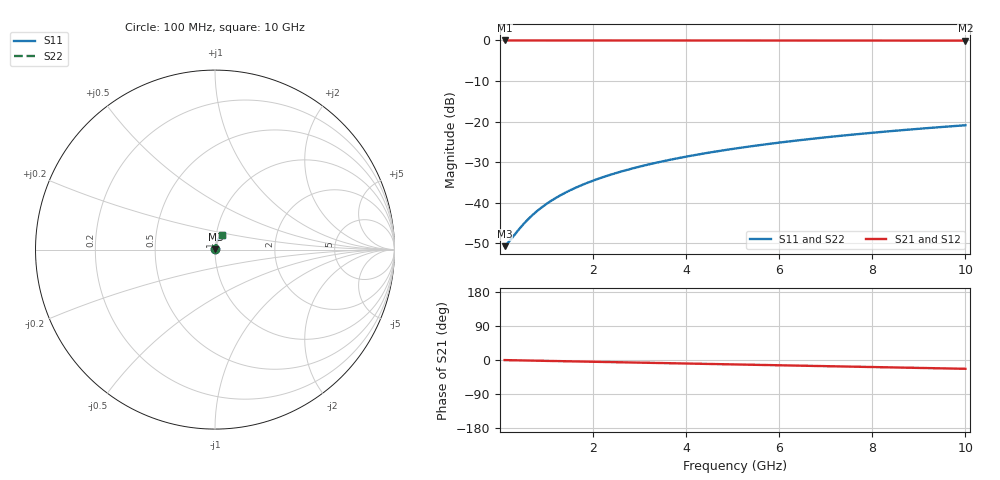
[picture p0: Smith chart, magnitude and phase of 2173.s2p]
# Hz S RI R 50.00
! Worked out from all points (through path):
!   100 points, 100 MHz to 10 GHz, reference 50 ohm
!   highest |S21| = -0.02 dB at 100 MHz (marker M1); lowest = -0.1 dB at 10 GHz (marker M2)
!   group delay of S21, straight-line fit = 6.45 ps
!   lowest |S11| = -50.7 dB at 100 MHz (marker M3), VSWR 1.01, Z = 50.3 + j0.092 ohm
!   |S11| at or under -10 dB: start of sweep to end of sweep
!   |S22| runs from -50.7 to -20.9 dB; largest |S21 - S12| = 0
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1e8  0.00277 0.000915  0.9972 -0.00403  0.9972 -0.00403  0.00277 0.000915
2e8  0.0028 0.00183  0.9972 -0.00806  0.9972 -0.00806  0.0028 0.00183
4e8  0.00287 0.00366  0.997 -0.0161  0.997 -0.0161  0.00287 0.00366
5e8  0.00291 0.00457  0.997 -0.0202  0.997 -0.0202  0.00291 0.00457
6e8  0.00296 0.00549  0.9968 -0.0242  0.9968 -0.0242  0.00296 0.00549
7e8  0.00301 0.0064  0.9967 -0.0282  0.9967 -0.0282  0.00301 0.0064
9e8  0.00314 0.00822  0.9964 -0.0363  0.9964 -0.0363  0.00314 0.00822
1.1e9  0.0033 0.01  0.9961 -0.0443  0.9961 -0.0443  0.0033 0.01
1.3e9  0.00348 0.0119  0.9957 -0.0524  0.9957 -0.0524  0.00348 0.0119
1.5e9  0.0037 0.0137  0.9952 -0.0604  0.9952 -0.0604  0.0037 0.0137
1.8e9  0.00407 0.0164  0.9943 -0.0725  0.9943 -0.0725  0.00407 0.0164
2.1e9  0.00451 0.0191  0.9933 -0.0846  0.9933 -0.0846  0.00451 0.0191
2.5e9  0.0052 0.0227  0.9917 -0.1006  0.9917 -0.1006  0.0052 0.0227
2.9e9  0.00601 0.0263  0.9898 -0.1166  0.9898 -0.1166  0.00601 0.0263
3.4e9  0.00717 0.0307  0.9871 -0.1366  0.9871 -0.1366  0.00717 0.0307
4.2e9  0.0094 0.0376  0.9819 -0.1685  0.9819 -0.1685  0.0094 0.0376
5.1e9  0.0124 0.0453  0.9747 -0.2041  0.9747 -0.2041  0.0124 0.0453
5.9e9  0.0156 0.0518  0.9672 -0.2355  0.9672 -0.2355  0.0156 0.0518
6.7e9  0.0192 0.0582  0.9586 -0.2666  0.9586 -0.2666  0.0192 0.0582
7.5e9  0.0232 0.0643  0.949 -0.2974  0.949 -0.2974  0.0232 0.0643
8.4e9  0.0282 0.0709  0.9369 -0.3316  0.9369 -0.3316  0.0282 0.0709
1e10  0.0381 0.0816  0.9124 -0.3912  0.9124 -0.3912  0.0381 0.0816
